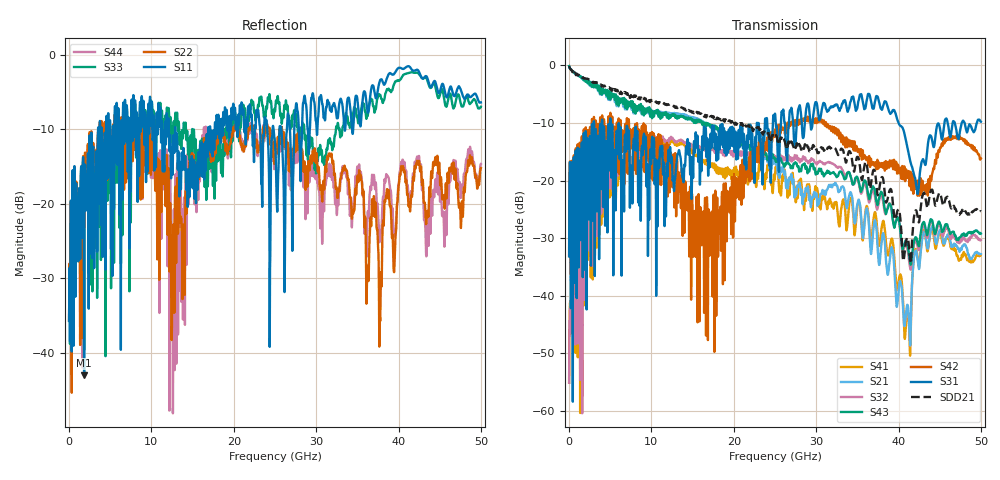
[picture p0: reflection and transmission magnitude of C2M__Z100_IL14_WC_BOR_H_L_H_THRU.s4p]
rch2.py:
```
import numpy as np
import skrf as rf

def extract_channel_resistance(s4p_path):
    # Load the S4P file
    ntwk = rf.Network(s4p_path)
    z0 = ntwk.z0[0,0]  # reference impedance, usually 50Ω

    # Convert to Z-parameters
    z_params = ntwk.z
    freqs = ntwk.f

    # Pick DC (or the lowest frequency)
    Z = z_params[0]

    # Extract relevant elements
    Z11, Z12, Z21, Z22 = Z[0,0], Z[0,1], Z[1,0], Z[1,1]

    # Compute channel equivalent series resistance
    Rch = np.real(Z11 + Z22 - Z12 - Z21)

    print(f"Reference Impedance (Z0): {z0} Ω")
    print(f"Lowest frequency point: {freqs[0]/1e9:.3f} GHz")
    print(f"Channel Resistance Rch ≈ {Rch:.4f} Ω")

    return Rch

# Example usage
if __name__ == "__main__":
    path = "C2M__Z100_IL14_WC_BOR_H_L_H_THRU.s4p"  # <-- replace with your file path
    extract_channel_resistance(path)
```
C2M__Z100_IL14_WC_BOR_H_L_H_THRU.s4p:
# GHz S MA R 50
! S-Parameters data
! Freq  magS11  angS11  magS12  angS12  magS13  angS13  magS14  angS14
!  magS21  angS21  magS22  angS22  magS23  angS23  magS24  angS24
!  magS31  angS31  magS32  angS32  magS33  angS33  magS34  angS34
!  magS41  angS41  magS42  angS42  magS43  angS43  magS44  angS44
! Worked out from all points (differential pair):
!   5000 points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, 10 MHz to 50 GHz, reference 50 ohm
!   strongest paths, dB at 10 MHz, 12.51 GHz, 25.01 GHz, 37.51 GHz, 50 GHz:
!     S31: -33.1, -17.1, -8.4, -5.6, -9.8
!     S42: -33.1, -16.5, -11.6, -17.6, -16.1
!     S43: -0.1, -8.7, -16.3, -23.9, -29.2
!     S32: -55.1, -12.6, -16.1, -24.4, -30.3
!     S21: -0.1, -8.4, -16.6, -32.7, -32.8
!     S41: -55.1, -12.9, -19.0, -30.3, -32.9
!   taken as a pair (ports 3,1 in; 4,2 out), SDD21 dB: -0.1, -6.9, -11.8, -22.5, -25.4
!   lowest |S11| = -43.0 dB at 1.83 GHz (marker M1), VSWR 1.01, Z = 50.4 - j0.585 ohm
!   |S11| at or under -10 dB: start of sweep to 3.523 GHz; 12.12 GHz to 12.86 GHz (734.9 MHz wide, 5.88 % of centre); 12.91 GHz to 16.89 GHz (3.985 GHz wide, 26.7 % of centre)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
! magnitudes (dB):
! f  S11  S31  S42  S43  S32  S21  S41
! 10 MHz  -35.7  -33.1  -33.1  -0.1  -55.1  -0.1  -55.1
! 1.83 GHz  -43.0  -12.9  -12.1  -2.4  -37.3  -2.4  -37.7
! 50 GHz  -6.4  -9.8  -16.1  -29.2  -30.3  -32.8  -32.9
